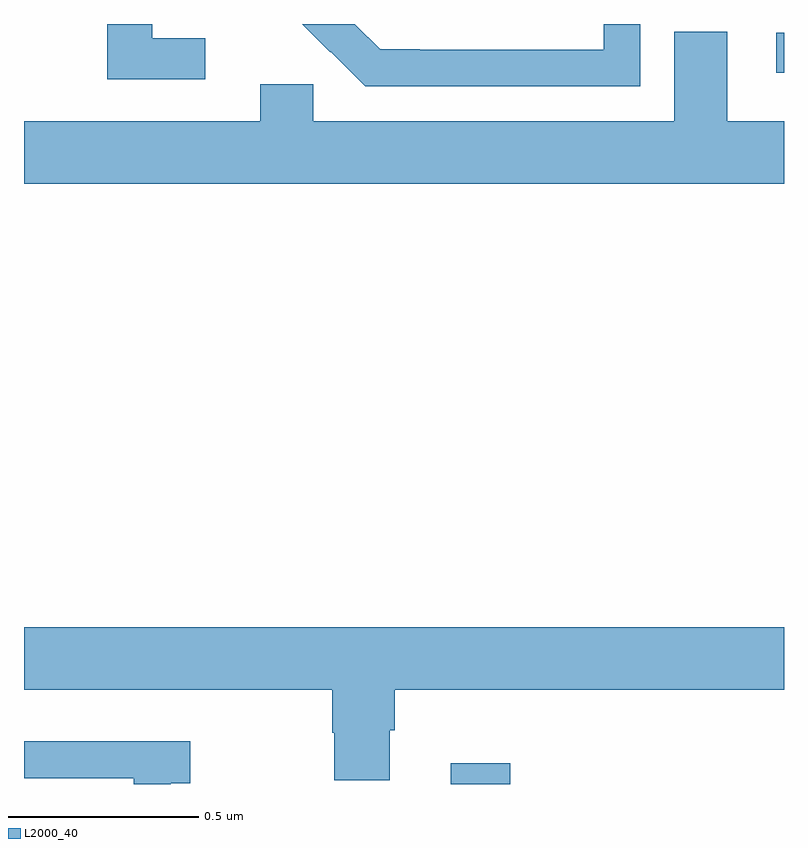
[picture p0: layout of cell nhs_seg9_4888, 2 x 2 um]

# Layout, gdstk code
import gdstk
lib = gdstk.Library(unit=1e-6, precision=1e-09)
def R(c, l, rs):  # rectangles x0, y0, x1, y1
    for r in rs: c.add(gdstk.rectangle(r[:2], r[2:], *l))
def P(c, l, *ps):  # polygons
    for p in ps: c.add(gdstk.Polygon(p, *l))
L2000_40 = (2000, 40)

nhs_seg9_4888 = lib.new_cell('nhs_seg9_4888')
R(nhs_seg9_4888, L2000_40, [(173.123,1201.5,173.279,1201.555), (173.979,1203.372,174,1203.477)])
P(nhs_seg9_4888, L2000_40, [(173.622,1203.5),(173.525,1203.5),(173.525,1203.432),(173.041,1203.432),(173.041,1203.433),(172.938,1203.433),(172.87,1203.5),(172.732,1203.5),(172.806,1203.426),(172.807,1203.427),(172.898,1203.336),(173.622,1203.336)],
  [(172.477,1203.463),(172.337,1203.463),(172.337,1203.5),(172.219,1203.5),(172.219,1203.354),(172.477,1203.354)],
  [(174,1203.244),(173.851,1203.244),(173.851,1203.48),(173.711,1203.48),(173.711,1203.244),(172.761,1203.244),(172.761,1203.342),(172.622,1203.342),(172.622,1203.244),(172,1203.244),(172,1203.08),(174,1203.08)],
  [(172.963,1201.642),(172.976,1201.642),(172.976,1201.748),(174,1201.748),(174,1201.912),(172,1201.912),(172,1201.748),(172.811,1201.748),(172.811,1201.635),(172.816,1201.635),(172.816,1201.51),(172.963,1201.51)],
  [(172.386,1201.502),(172.438,1201.502),(172.438,1201.612),(172,1201.612),(172,1201.515),(172.289,1201.515),(172.289,1201.5),(172.386,1201.5)])

lib.write_gds('nhs_seg9_4888.gds')
